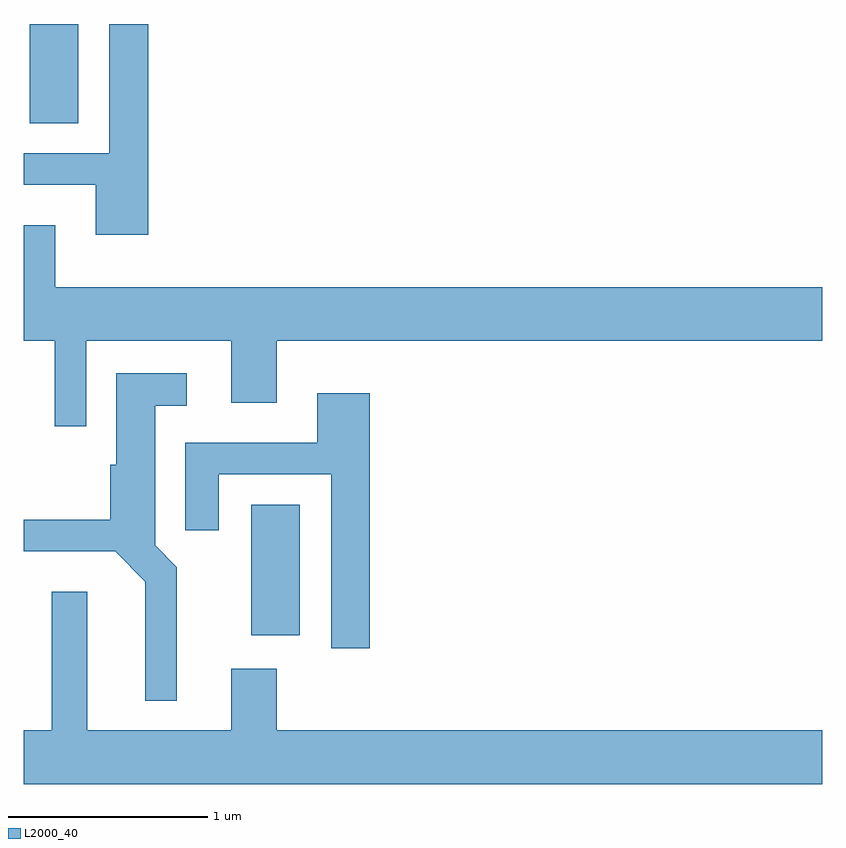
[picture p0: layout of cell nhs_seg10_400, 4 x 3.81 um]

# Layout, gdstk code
import gdstk
lib = gdstk.Library(unit=1e-6, precision=1e-09)
def R(c, l, rs):  # rectangles x0, y0, x1, y1
    for r in rs: c.add(gdstk.rectangle(r[:2], r[2:], *l))
def P(c, l, *ps):  # polygons
    for p in ps: c.add(gdstk.Polygon(p, *l))
L2000_40 = (2000, 40)

nhs_seg10_400 = lib.new_cell('nhs_seg10_400')
R(nhs_seg10_400, L2000_40, [(196.751,2203.461,196.994,2204.114), (195.641,2206.026,195.884,2206.522)])
P(nhs_seg10_400, L2000_40, [(196.234,2206.522),(196.041,2206.522),(196.041,2205.874),(195.611,2205.874),(195.611,2205.716),(195.971,2205.716),(195.971,2205.466),(196.234,2205.466)],
  [(195.924,2204.936),(196.651,2204.936),(196.651,2204.626),(196.879,2204.626),(196.879,2204.936),(199.611,2204.936),(199.611,2205.204),(195.769,2205.204),(195.769,2205.514),(195.611,2205.514),(195.611,2204.936),(195.766,2204.936),(195.766,2204.508),(195.924,2204.508)],
  [(196.379,2203.802),(196.269,2203.912),(196.269,2204.611),(196.428,2204.611),(196.428,2204.774),(196.076,2204.774),(196.076,2204.314),(196.046,2204.314),(196.046,2204.039),(195.611,2204.039),(195.611,2203.881),(196.069,2203.881),(196.221,2203.729),(196.221,2203.133),(196.379,2203.133)],
  [(197.344,2204.674),(197.081,2204.674),(197.081,2204.424),(196.421,2204.424),(196.421,2203.988),(196.589,2203.988),(196.589,2204.266),(197.151,2204.266),(197.151,2203.396),(197.344,2203.396)],
  [(199.611,2202.984),(196.879,2202.984),(196.879,2203.294),(196.651,2203.294),(196.651,2202.984),(195.929,2202.984),(195.929,2203.679),(195.751,2203.679),(195.751,2202.984),(195.611,2202.984),(195.611,2202.716),(199.611,2202.716)])

lib.write_gds('nhs_seg10_400.gds')
